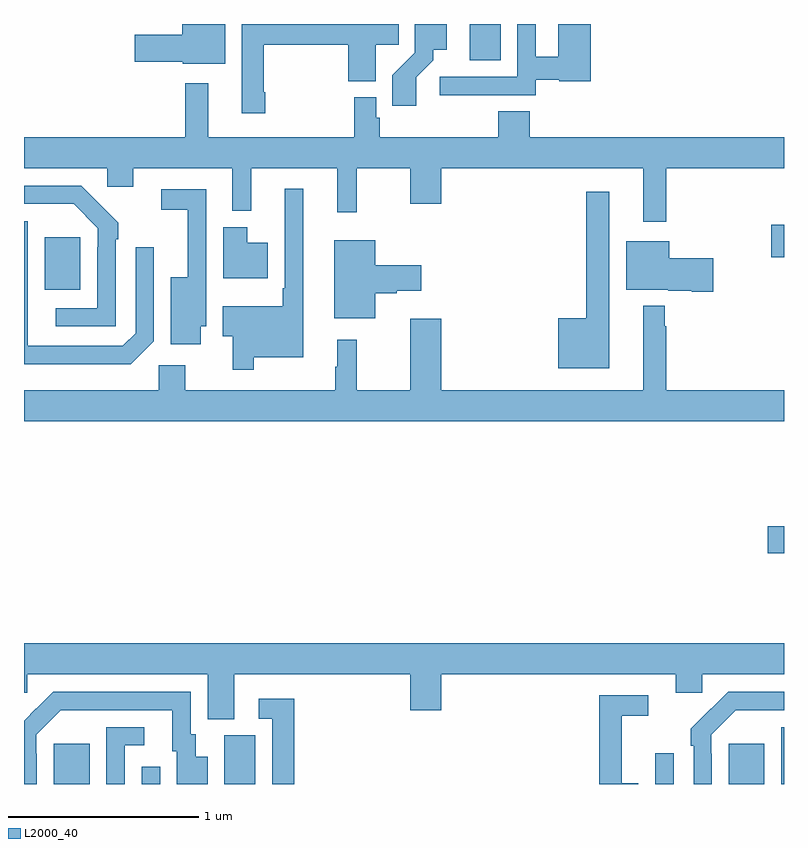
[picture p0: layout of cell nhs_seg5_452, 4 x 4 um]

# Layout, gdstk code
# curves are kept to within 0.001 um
import gdstk
lib = gdstk.Library(unit=1e-6, precision=1e-09)
def R(c, l, rs):  # rectangles x0, y0, x1, y1
    for r in rs: c.add(gdstk.rectangle(r[:2], r[2:], *l))
def P(c, l, *ps):  # polygons
    for p in ps: c.add(gdstk.Polygon(p, *l))
L2000_40 = (2000, 40)

nhs_seg5_452 = lib.new_cell('nhs_seg5_452')
R(nhs_seg5_452, L2000_40, [(139.157,906.799,139.345,907.012), (139.62,906.799,139.716,906.889), (140.054,906.799,140.218,907.056), (142.323,906.799,142.419,906.961), (142.709,906.799,142.897,907.012), (142.986,906.799,143,907.098), (142.914,908.014,143,908.156), (139.109,909.401,139.297,909.676), (142.932,909.572,143,909.742), (141.347,910.608,141.508,910.799)])
P(nhs_seg5_452, L2000_40, [(141.413,910.425),(141.693,910.425),(141.693,910.506),(141.816,910.506),(141.816,910.498),(141.983,910.498),(141.983,910.799),(141.812,910.799),(141.812,910.627),(141.693,910.627),(141.693,910.799),(141.597,910.799),(141.597,910.521),(141.189,910.521),(141.189,910.423),(141.413,910.423)],
  [(141.064,910.519),(141.154,910.609),(141.154,910.664),(141.226,910.664),(141.226,910.799),(141.057,910.799),(141.057,910.649),(140.938,910.53),(140.938,910.368),(141.064,910.368)],
  [(140.059,910.799),(139.832,910.799),(139.832,910.742),(139.584,910.742),(139.584,910.6),(139.836,910.6),(139.836,910.589),(140.059,910.589)],
  [(140.269,910.441),(140.261,910.441),(140.261,910.689),(140.707,910.689),(140.707,910.499),(140.851,910.499),(140.851,910.69),(140.972,910.69),(140.972,910.799),(140.147,910.799),(140.147,910.329),(140.269,910.329)],
  [(140.096,909.815),(140.195,909.815),(140.195,910.04),(140.648,910.04),(140.648,909.807),(140.75,909.807),(140.75,910.04),(141.032,910.04),(141.032,909.852),(141.196,909.852),(141.196,910.04),(142.259,910.04),(142.259,909.759),(142.381,909.759),(142.381,910.04),(143,910.04),(143,910.204),(141.662,910.204),(141.662,910.34),(141.497,910.34),(141.497,910.204),(140.873,910.204),(140.873,910.305),(140.853,910.305),(140.853,910.414),(140.737,910.414),(140.737,910.204),(139.969,910.204),(139.969,910.486),(139.848,910.486),(139.848,910.204),(139,910.204),(139,910.04),(139.437,910.04),(139.437,909.942),(139.576,909.942),(139.576,910.04),(140.096,910.04)],
  [(139.482,909.665),(139.497,909.665),(139.497,909.753),(139.3,909.948),(139,909.948),(139,909.852),(139.261,909.852),(139.389,909.723),(139.389,909.623),(139.386,909.623),(139.386,909.303),(139.167,909.303),(139.167,909.207),(139.482,909.207)],
  [(140.209,909.044),(140.47,909.044),(140.47,909.931),(140.373,909.931),(140.373,909.409),(140.361,909.409),(140.361,909.313),(140.046,909.313),(140.046,909.155),(140.099,909.155),(140.099,908.979),(140.209,908.979)],
  [(139.93,909.209),(139.959,909.209),(139.959,909.93),(139.722,909.93),(139.722,909.822),(139.862,909.822),(139.862,909.466),(139.772,909.466),(139.772,909.114),(139.93,909.114)],
  [(142.081,909.916),(141.96,909.916),(141.96,909.25),(141.812,909.25),(141.812,908.987),(142.081,908.987)],
  [(139.683,909.129),(139.683,909.625),(139.587,909.625),(139.587,909.171),(139.521,909.105),(139.021,909.105),(139.021,909.305),(139.02,909.305),(139.02,909.762),(139,909.762),(139,909.008),(139.562,909.008)],
  [(140.284,909.649),(140.176,909.649),(140.176,909.73),(140.048,909.73),(140.048,909.461),(140.284,909.461)],
  [(140.848,909.383),(140.961,909.383),(140.961,909.395),(141.091,909.395),(141.091,909.53),(140.848,909.53),(140.848,909.661),(140.633,909.661),(140.633,909.251),(140.848,909.251)],
  [(142.627,909.567),(142.396,909.567),(142.396,909.655),(142.169,909.655),(142.169,909.401),(142.392,909.401),(142.392,909.395),(142.514,909.395),(142.514,909.389),(142.627,909.389)],
  [(143,908.872),(142.381,908.872),(142.381,909.209),(142.373,909.209),(142.373,909.316),(142.259,909.316),(142.259,908.872),(141.196,908.872),(141.196,909.247),(141.032,909.247),(141.032,908.872),(140.75,908.872),(140.75,909.136),(140.648,909.136),(140.648,908.996),(140.637,908.996),(140.637,908.872),(139.849,908.872),(139.849,909.004),(139.71,909.004),(139.71,908.872),(139,908.872),(139,908.708),(143,908.708)],
  [(139,907.278),(139.017,907.278),(139.017,907.376),(139.967,907.376),(139.967,907.141),(140.107,907.141),(140.107,907.376),(141.032,907.376),(141.032,907.188),(141.196,907.188),(141.196,907.376),(142.43,907.376),(142.43,907.278),(142.569,907.278),(142.569,907.376),(143,907.376),(143,907.54),(139,907.54)],
  [(142.62,906.959),(142.617,906.959),(142.617,907.059),(142.746,907.188),(143,907.188),(143,907.284),(142.706,907.284),(142.509,907.089),(142.509,907.001),(142.524,907.001),(142.524,906.799),(142.62,906.799)],
  [(139.068,906.959),(139.065,906.959),(139.065,907.059),(139.194,907.188),(139.781,907.188),(139.781,906.972),(139.805,906.972),(139.805,906.799),(139.966,906.799),(139.966,906.943),(139.903,906.943),(139.903,907.062),(139.878,907.062),(139.878,907.284),(139.154,907.284),(139,907.132),(139,906.799),(139.068,906.799)],
  [(142.234,906.802),(142.145,906.802),(142.145,907.158),(142.285,907.158),(142.285,907.266),(142.027,907.266),(142.027,906.799),(142.234,906.799)],
  [(140.423,907.249),(140.235,907.249),(140.235,907.143),(140.307,907.143),(140.307,906.799),(140.423,906.799)],
  [(139.53,907.002),(139.633,907.002),(139.633,907.098),(139.434,907.098),(139.434,906.799),(139.53,906.799)])

lib.write_gds('nhs_seg5_452.gds')
